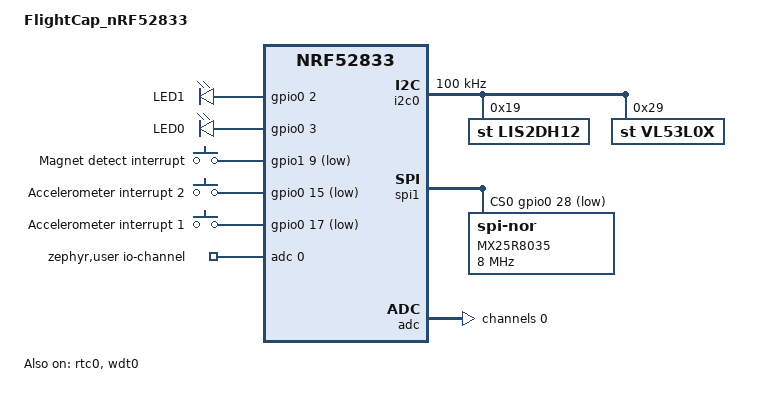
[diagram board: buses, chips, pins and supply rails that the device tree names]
/dts-v1/;
#include <nordic/nrf52833_qdaa.dtsi>
#include <zephyr/dt-bindings/adc/nrf-saadc.h>
#include <zephyr/dt-bindings/i2c/i2c.h>
#include "FlightCap_nRF52833-pinctrl.dtsi"

/ {
	model = "FlightCap_nRF52833";
	compatible = "NeurotechHub,FlightCap_nRF52833";

	chosen {
		zephyr,sram = &sram0;
		zephyr,flash = &flash0;
		zephyr,code-partition = &slot0_partition;
	};

	leds {
		compatible = "gpio-leds";
		led1: led_1 {
			gpios = <&gpio0 2 GPIO_ACTIVE_HIGH>;
			label = "LED1";
		};
		led0: led_0 {
			gpios = <&gpio0 3 GPIO_ACTIVE_HIGH>;
			label = "LED0";
		};
	};

	/*
	 * TOF_EN (P0.09 / NFC1) enables TPS63900 for the VL53L0X rail. P0.09 is
	 * an NFC antenna pin by default — see &uicr { nfct-pins-as-gpios; }.
	 * Parent uses gpio-leds so child gpios parse for GPIO_DT_SPEC_GET, but
	 * status "disabled" prevents led_gpio_init() from driving the pin LOW at
	 * POST_KERNEL priority 90. Firmware owns the pin via vl53l0x_zephyr
	 * SYS_INIT at priority 50.
	 */
	tof_ctrl {
		compatible = "gpio-leds";
		status = "disabled";
		tof_en: tof_en {
			status = "okay";
			gpios = <&gpio0 9 GPIO_ACTIVE_HIGH>;
			label = "TOF TPS63900 enable";
		};
	};

	gpio_keys {
		compatible = "gpio-keys";
		magnet_sensor: magnet_sensor {
			gpios = <&gpio1 9 GPIO_ACTIVE_LOW>;
			label = "Magnet detect interrupt";
		};
		accel_int2: accel_int2 {
			gpios = <&gpio0 15 GPIO_ACTIVE_LOW>;
			label = "Accelerometer interrupt 2";
		};
		accel_int1: accel_int1 {
			gpios = <&gpio0 17 GPIO_ACTIVE_LOW>;
			label = "Accelerometer interrupt 1";
		};
	};

	/* SAADC channel 0: internal VDD (coin cell on VDD, no external pin). */
	zephyr,user {
		io-channels = <&adc 0>;
	};

	aliases {
		led0 = &led0;
		led1 = &led1;
		magnet-sensor = &magnet_sensor;
		accel-int = &accel_int1;
		accel-int2 = &accel_int2;
		i2c-bus = &i2c0;
		tof-sensor = &vl53l0x;
		tof-enable = &tof_en;
		spi-flash = &mx25r8035;
	};
};

/*
 * nRF52 (incl. nRF52833) has no lfxo/hfxo devicetree nodes in NCS 3.0 — LF/HF
 * crystal selection is via Kconfig in FlightCap_nRF52833_defconfig.
 */

/*
 * P0.09 (TOF_EN) and P0.10 are NFC1/NFC2 by default. Without this UICR bit,
 * GPIO writes to P0.09 do not reach the pin (reads ~0 V). First boot after
 * adding this programs UICR and triggers one automatic reset.
 */
&uicr {
	nfct-pins-as-gpios;
};

&gpio0 {
	status = "okay";
};

&gpio1 {
	status = "okay";
};

&gpiote {
	status = "okay";
};

&rtc0 {
	status = "okay";
};

&wdt0 {
	status = "okay";
};

/*
 * Shared I2C bus (TWIM0): SCL P0.04, SDA P0.05 @ 100 kHz.
 *   LIS2DH12 @ 0x19 (SA0 high)
 *   VL53L0X @ 0x29 (Zephyr sensor driver in flightcap-demo)
 */
&i2c0 {
	compatible = "nordic,nrf-twim";
	status = "okay";
	pinctrl-0 = <&i2c0_default>;
	pinctrl-1 = <&i2c0_sleep>;
	pinctrl-names = "default", "sleep";
	clock-frequency = <I2C_BITRATE_STANDARD>;

	lis2dh12: lis2dh12@19 {
		compatible = "st,lis2dh12";
		reg = <0x19>;
	};

	vl53l0x: vl53l0x@29 {
		compatible = "st,vl53l0x";
		reg = <0x29>;
		label = "VL53L0X";
		/* Init after TOF_EN rail is up (vl53l0x_zephyr_check calls device_init). */
		zephyr,deferred-init;
	};
};

/*
 * SPI NOR flash (MX25R8035F 8 Mb) on SPIM1. Instance 0 is shared between
 * TWIM0 and SPIM0, so I2C uses &i2c0 and SPI must use &spi1 (same pattern
 * as nrf52833dk). Physical pins unchanged: CS P0.28, SCK/MISO/MOSI P0.29-31.
 */
&spi1 {
	compatible = "nordic,nrf-spim";
	status = "okay";
	pinctrl-0 = <&spi1_default>;
	pinctrl-1 = <&spi1_sleep>;
	pinctrl-names = "default", "sleep";
	cs-gpios = <&gpio0 28 GPIO_ACTIVE_LOW>;

	mx25r8035: mx25r8035@0 {
		compatible = "jedec,spi-nor";
		reg = <0>;
		spi-max-frequency = <8000000>;
		jedec-id = [c2 28 14];
		/* 8 Mbit (1 MiB) — jedec,spi-nor `size` is in bits, not bytes. */
		size = <0x800000>;
		label = "MX25R8035";
	};
};

&adc {
	status = "okay";
	#address-cells = <1>;
	#size-cells = <0>;

	channel@0 {
		reg = <0>;
		zephyr,gain = "ADC_GAIN_1_6";
		zephyr,reference = "ADC_REF_INTERNAL";
		zephyr,acquisition-time = <ADC_ACQ_TIME_DEFAULT>;
		zephyr,input-positive = <NRF_SAADC_VDD>;
		zephyr,resolution = <12>;
	};
};

&flash0 {
	partitions {
		compatible = "fixed-partitions";
		#address-cells = <1>;
		#size-cells = <1>;

		boot_partition: partition@0 {
			label = "mcuboot";
			reg = <0x00000000 DT_SIZE_K(48)>;
		};

		slot0_partition: partition@c000 {
			label = "image-0";
			reg = <0x0000c000 DT_SIZE_K(232)>;
		};

		slot1_partition: partition@46000 {
			label = "image-1";
			reg = <0x00046000 DT_SIZE_K(232)>;
		};
	};
};
